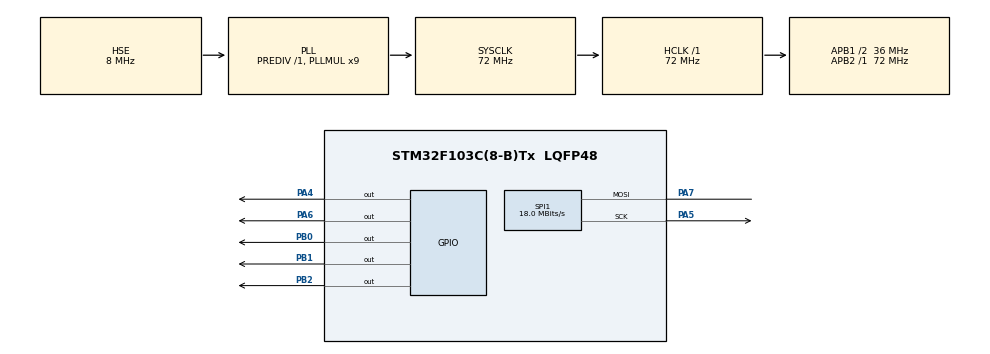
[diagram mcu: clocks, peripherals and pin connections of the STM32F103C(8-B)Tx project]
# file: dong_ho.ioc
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Mcu.Family=STM32F1
Mcu.Name=STM32F103C(8-B)Tx
Mcu.Package=LQFP48
NVIC.PriorityGroup=NVIC_PRIORITYGROUP_4
PA13.Mode=Serial_Wire
PA13.Signal=SYS_JTMS-SWDIO
PA14.Mode=Serial_Wire
PA14.Signal=SYS_JTCK-SWCLK
PA4.Signal=GPIO_Output
PA5.Mode=Simplex_Bidirectional_Master
PA5.Signal=SPI1_SCK
PA6.Signal=GPIO_Output
PA7.Mode=Simplex_Bidirectional_Master
PA7.Signal=SPI1_MOSI
PB0.Signal=GPIO_Output
PB1.Signal=GPIO_Output
PB2.Signal=GPIO_Output
PD0-OSC_IN.Mode=HSE-External-Oscillator
PD0-OSC_IN.Signal=RCC_OSC_IN
PD1-OSC_OUT.Mode=HSE-External-Oscillator
PD1-OSC_OUT.Signal=RCC_OSC_OUT
ProjectManager.HeapSize=0x200
ProjectManager.StackSize=0x400
ProjectManager.TargetToolchain=STM32CubeIDE
RCC.AHBFreq_Value=72000000
RCC.APB1CLKDivider=RCC_HCLK_DIV2
RCC.APB1Freq_Value=36000000
RCC.APB1TimFreq_Value=72000000
RCC.APB2Freq_Value=72000000
RCC.APB2TimFreq_Value=72000000
RCC.HCLKFreq_Value=72000000
RCC.PLLMUL=RCC_PLL_MUL9
RCC.PLLSourceVirtual=RCC_PLLSOURCE_HSE
RCC.RTCClockSelection=RCC_RTCCLKSOURCE_HSE_DIV128
RCC.SYSCLKFreq_VALUE=72000000
RCC.SYSCLKSource=RCC_SYSCLKSOURCE_PLLCLK
RCC.USBFreq_Value=72000000
RTC.Year=19
SPI1.BaudRatePrescaler=SPI_BAUDRATEPRESCALER_4
SPI1.CalculateBaudRate=18.0 MBits/s
SPI1.DataSize=SPI_DATASIZE_8BIT
SPI1.Direction=SPI_DIRECTION_1LINE
SPI1.Mode=SPI_MODE_MASTER
SPI1.VirtualType=VM_MASTER
VP_RTC_VS_RTC_Activate.Mode=RTC_Enabled
VP_RTC_VS_RTC_Calendar.Mode=RTC_Calendar
board=custom

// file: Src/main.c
/* USER CODE BEGIN Header */
/**
  ******************************************************************************
  * @file           : main.c
  * @brief          : Main program body
  ******************************************************************************
  * @attention
  *
  * <h2><center>&copy; Copyright (c) 2019 STMicroelectronics.
  * All rights reserved.</center></h2>
  *
  * This software component is licensed by ST under BSD 3-Clause license,
  * the "License"; You may not use this file except in compliance with the
  * License. You may obtain a copy of the License at:
  *                        opensource.org/licenses/BSD-3-Clause
  *
  ******************************************************************************
  */
/* USER CODE END Header */

#include "main.h"

/* USER CODE BEGIN Includes */
#include "testimg.h"
#include "st7735.h"
/* USER CODE END Includes */

RTC_HandleTypeDef hrtc;

SPI_HandleTypeDef hspi1;

void SystemClock_Config(void);
static void MX_GPIO_Init(void);
static void MX_RTC_Init(void);
static void MX_SPI1_Init(void);

/* USER CODE BEGIN 0 */
void init() {
    ST7735_Init();
    const char ready[] = "Ready!\r\n";
//    HAL_TIM_PWM_Start(&htim4,TIM_CHANNEL_2);
//    HAL_TIM_PWM_Start(&htim4,TIM_CHANNEL_3);
//    HAL_TIM_PWM_Start(&htim4,TIM_CHANNEL_4);
//    init_MPU();
}

void lcd() {
//
	ST7735_FillScreen(ST7735_BLACK);

//	    HAL_Delay(3000);

	    // Check fonts
//	    ST7735_FillScreen(ST7735_BLACK);
//	    ST7735_WriteString(0, 0, "Font_7x10, red on black, lorem ipsum dolor sit amet", Font_7x10, ST7735_RED, ST7735_BLACK);
//	    	    ST7735_WriteString(0, 3*10, "Font_11x18, green, lorem ipsum", Font_11x18, ST7735_GREEN, ST7735_BLACK);
	    	    ST7735_WriteString(0, 3*10+3*18, "1", Font_16x26, ST7735_BLUE, ST7735_BLACK);
////	    HAL_Delay(2000);
//
//	    // Check colors
//	    ST7735_FillScreen(ST7735_BLACK);
//	    ST7735_WriteString(0, 0, "BLACK", Font_11x18, ST7735_WHITE, ST7735_BLACK);
////	    HAL_Delay(500);
//
//	    ST7735_FillScreen(ST7735_BLUE);
//	    ST7735_WriteString(0, 0, "BLUE", Font_11x18, ST7735_BLACK, ST7735_BLUE);
////	    HAL_Delay(500);
//
//	    ST7735_FillScreen(ST7735_RED);
//	    ST7735_WriteString(0, 0, "RED", Font_11x18, ST7735_BLACK, ST7735_RED);
////	    HAL_Delay(500);
//
//	    ST7735_FillScreen(ST7735_GREEN);
//	    ST7735_WriteString(0, 0, "GREEN", Font_11x18, ST7735_BLACK, ST7735_GREEN);
////	    HAL_Delay(500);
//
//	    ST7735_FillScreen(ST7735_CYAN);
//	    ST7735_WriteString(0, 0, "CYAN", Font_11x18, ST7735_BLACK, ST7735_CYAN);
////	    HAL_Delay(500);
//
//	    ST7735_FillScreen(ST7735_MAGENTA);
//	    ST7735_WriteString(0, 0, "MAGENTA", Font_11x18, ST7735_BLACK, ST7735_MAGENTA);
////	    HAL_Delay(500);
//
//	    ST7735_FillScreen(ST7735_YELLOW);
//	    ST7735_WriteString(0, 0, "YELLOW", Font_11x18, ST7735_BLACK, ST7735_YELLOW);
////	    HAL_Delay(500);
//
//	    ST7735_FillScreen(ST7735_WHITE);
//	    ST7735_WriteString(0, 0, "WHITE", Font_11x18, ST7735_BLACK, ST7735_WHITE);
////	    HAL_Delay(500);

}
/* USER CODE END 0 */

int main(void)
{

  /* MCU Configuration--------------------------------------------------------*/

  /* Reset of all peripherals, Initializes the Flash interface and the Systick. */
  HAL_Init();

  /* Configure the system clock */
  SystemClock_Config();

  /* Initialize all configured peripherals */
  MX_GPIO_Init();
  MX_RTC_Init();
  MX_SPI1_Init();
  /* USER CODE BEGIN 2 */
  HAL_GPIO_WritePin(GPIOA,GPIO_PIN_4,GPIO_PIN_SET);
  init() ;
  RTC_TimeTypeDef timeStruct;
   int hour, min, sec;

  /* USER CODE END 2 */

  /* Infinite loop */
  while (1)
  {

    /* USER CODE BEGIN 3 */
	  HAL_RTC_GetTime(&hrtc,&timeStruct,RTC_FORMAT_BIN);
		  hour = timeStruct.Hours;
		  min = timeStruct.Minutes;
		  sec = timeStruct.Seconds;
		  ST7735_WriteString(0, 3*10+3*18, "10", Font_16x26, ST7735_WHITE, ST7735_BLACK);
  }
  /* USER CODE END 3 */
}

void SystemClock_Config(void)
{
  RCC_OscInitTypeDef RCC_OscInitStruct = {0};
  RCC_ClkInitTypeDef RCC_ClkInitStruct = {0};
  RCC_PeriphCLKInitTypeDef PeriphClkInit = {0};

  /** Initializes the CPU, AHB and APB busses clocks
  */
  RCC_OscInitStruct.OscillatorType = RCC_OSCILLATORTYPE_HSE;
  RCC_OscInitStruct.HSEState = RCC_HSE_ON;
  RCC_OscInitStruct.HSEPredivValue = RCC_HSE_PREDIV_DIV1;
  RCC_OscInitStruct.HSIState = RCC_HSI_ON;
  RCC_OscInitStruct.PLL.PLLState = RCC_PLL_ON;
  RCC_OscInitStruct.PLL.PLLSource = RCC_PLLSOURCE_HSE;
  RCC_OscInitStruct.PLL.PLLMUL = RCC_PLL_MUL9;
  if (HAL_RCC_OscConfig(&RCC_OscInitStruct) != HAL_OK)
  {
    Error_Handler();
  }
  /** Initializes the CPU, AHB and APB busses clocks
  */
  RCC_ClkInitStruct.ClockType = RCC_CLOCKTYPE_HCLK|RCC_CLOCKTYPE_SYSCLK
                              |RCC_CLOCKTYPE_PCLK1|RCC_CLOCKTYPE_PCLK2;
  RCC_ClkInitStruct.SYSCLKSource = RCC_SYSCLKSOURCE_PLLCLK;
  RCC_ClkInitStruct.AHBCLKDivider = RCC_SYSCLK_DIV1;
  RCC_ClkInitStruct.APB1CLKDivider = RCC_HCLK_DIV2;
  RCC_ClkInitStruct.APB2CLKDivider = RCC_HCLK_DIV1;

  if (HAL_RCC_ClockConfig(&RCC_ClkInitStruct, FLASH_LATENCY_2) != HAL_OK)
  {
    Error_Handler();
  }
  PeriphClkInit.PeriphClockSelection = RCC_PERIPHCLK_RTC;
  PeriphClkInit.RTCClockSelection = RCC_RTCCLKSOURCE_HSE_DIV128;
  if (HAL_RCCEx_PeriphCLKConfig(&PeriphClkInit) != HAL_OK)
  {
    Error_Handler();
  }
}

static void MX_RTC_Init(void)
{

  RTC_TimeTypeDef sTime = {0};
  RTC_DateTypeDef DateToUpdate = {0};

  /** Initialize RTC Only
  */
  hrtc.Instance = RTC;
  hrtc.Init.AsynchPrediv = RTC_AUTO_1_SECOND;
  hrtc.Init.OutPut = RTC_OUTPUTSOURCE_ALARM;
  if (HAL_RTC_Init(&hrtc) != HAL_OK)
  {
    Error_Handler();
  }

  /** Initialize RTC and set the Time and Date
  */
  sTime.Hours = 0x0;
  sTime.Minutes = 0x0;
  sTime.Seconds = 0x0;

  if (HAL_RTC_SetTime(&hrtc, &sTime, RTC_FORMAT_BCD) != HAL_OK)
  {
    Error_Handler();
  }
  DateToUpdate.WeekDay = RTC_WEEKDAY_MONDAY;
  DateToUpdate.Month = RTC_MONTH_JANUARY;
  DateToUpdate.Date = 0x1;
  DateToUpdate.Year = 0x19;

  if (HAL_RTC_SetDate(&hrtc, &DateToUpdate, RTC_FORMAT_BCD) != HAL_OK)
  {
    Error_Handler();
  }

}

static void MX_SPI1_Init(void)
{

  /* SPI1 parameter configuration*/
  hspi1.Instance = SPI1;
  hspi1.Init.Mode = SPI_MODE_MASTER;
  hspi1.Init.Direction = SPI_DIRECTION_1LINE;
  hspi1.Init.DataSize = SPI_DATASIZE_8BIT;
  hspi1.Init.CLKPolarity = SPI_POLARITY_LOW;
  hspi1.Init.CLKPhase = SPI_PHASE_1EDGE;
  hspi1.Init.NSS = SPI_NSS_SOFT;
  hspi1.Init.BaudRatePrescaler = SPI_BAUDRATEPRESCALER_4;
  hspi1.Init.FirstBit = SPI_FIRSTBIT_MSB;
  hspi1.Init.TIMode = SPI_TIMODE_DISABLE;
  hspi1.Init.CRCCalculation = SPI_CRCCALCULATION_DISABLE;
  hspi1.Init.CRCPolynomial = 10;
  if (HAL_SPI_Init(&hspi1) != HAL_OK)
  {
    Error_Handler();
  }

}

static void MX_GPIO_Init(void)
{
  GPIO_InitTypeDef GPIO_InitStruct = {0};

  /* GPIO Ports Clock Enable */
  __HAL_RCC_GPIOD_CLK_ENABLE();
  __HAL_RCC_GPIOA_CLK_ENABLE();
  __HAL_RCC_GPIOB_CLK_ENABLE();

  /*Configure GPIO pin Output Level */
  HAL_GPIO_WritePin(GPIOA, GPIO_PIN_4|GPIO_PIN_6, GPIO_PIN_RESET);

  /*Configure GPIO pin Output Level */
  HAL_GPIO_WritePin(GPIOB, GPIO_PIN_0|GPIO_PIN_1|GPIO_PIN_2, GPIO_PIN_RESET);

  /*Configure GPIO pins : PA4 PA6 */
  GPIO_InitStruct.Pin = GPIO_PIN_4|GPIO_PIN_6;
  GPIO_InitStruct.Mode = GPIO_MODE_OUTPUT_PP;
  GPIO_InitStruct.Pull = GPIO_NOPULL;
  GPIO_InitStruct.Speed = GPIO_SPEED_FREQ_LOW;
  HAL_GPIO_Init(GPIOA, &GPIO_InitStruct);

  /*Configure GPIO pins : PB0 PB1 PB2 */
  GPIO_InitStruct.Pin = GPIO_PIN_0|GPIO_PIN_1|GPIO_PIN_2;
  GPIO_InitStruct.Mode = GPIO_MODE_OUTPUT_PP;
  GPIO_InitStruct.Pull = GPIO_NOPULL;
  GPIO_InitStruct.Speed = GPIO_SPEED_FREQ_LOW;
  HAL_GPIO_Init(GPIOB, &GPIO_InitStruct);

}

void Error_Handler(void)
{
}

/************************ (C) COPYRIGHT STMicroelectronics *****END OF FILE****/
